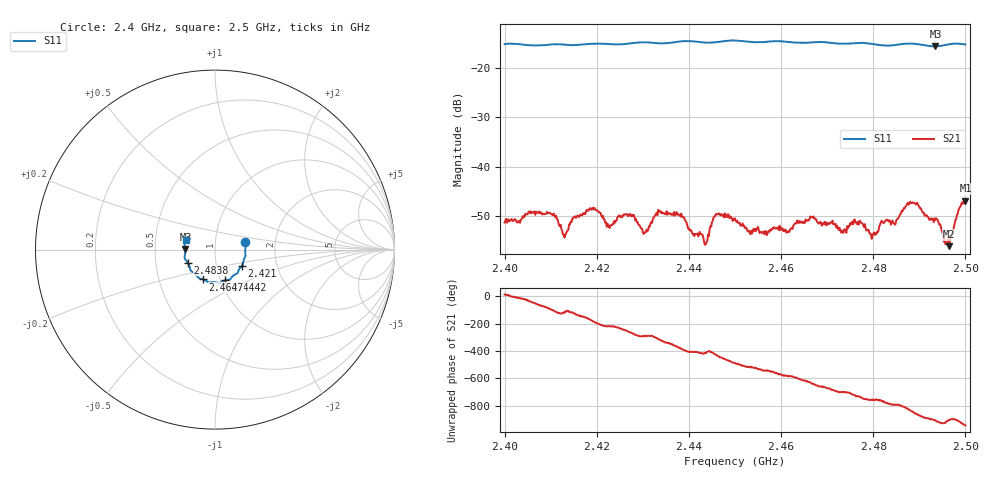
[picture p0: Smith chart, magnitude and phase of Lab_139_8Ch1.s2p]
# Hz S RI R 50
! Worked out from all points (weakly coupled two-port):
!   601 points, 2.4 GHz to 2.5 GHz, reference 50 ohm
!   highest |S21| = -46.82 dB at 2.5 GHz (marker M1); lowest = -56.0 dB at 2.4965 GHz (marker M2)
!   lowest |S11| = -15.7 dB at 2.4935 GHz (marker M3), VSWR 1.39, Z = 35.9 + j0.195 ohm
!   |S11| at or under -10 dB: start of sweep to end of sweep
!   S12 and S22 are empty: the file has one direction only
!   S11 on the Smith chart (normalised r, x): 2.4 GHz: 1.40, +0.12; 2.421 GHz: 1.33, -0.24; 2.4442 GHz: 1.05, -0.37; 2.4647 GHz: 0.83, -0.28; 2.4838 GHz: 0.73, -0.11; 2.5 GHz: 0.71, +0.08
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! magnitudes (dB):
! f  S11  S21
! 2.4 GHz  -15.2  -51.3
! 2.4097 GHz  -15.3  -49.3
! 2.4132 GHz  -15.3  -53.8
! 2.4167 GHz  -15.3  -49.8
! 2.421 GHz  -15.1  -49.8
! 2.4227 GHz  -15.2  -52.0
! 2.4277 GHz  -15.0  -49.7
! 2.4305 GHz  -14.8  -53.2
! 2.4333 GHz  -15.0  -48.7
! 2.4442 GHz  -14.9  -53.7
! 2.446 GHz  -14.8  -49.6
! 2.45 GHz  -14.5  -50.4
! 2.4565 GHz  -14.8  -53.1
! 2.4647 GHz  -14.9  -51.4
! 2.4667 GHz  -14.8  -50.1
! 2.4798 GHz  -15.2  -53.9
! 2.4833 GHz  -15.5  -51.0
! 2.4838 GHz  -15.5  -51.7
! 2.4885 GHz  -15.1  -47.2
! 2.4935 GHz  -15.7  -50.7
! 2.4965 GHz  -15.2  -56.0
! 2.5 GHz  -15.3  -46.8
